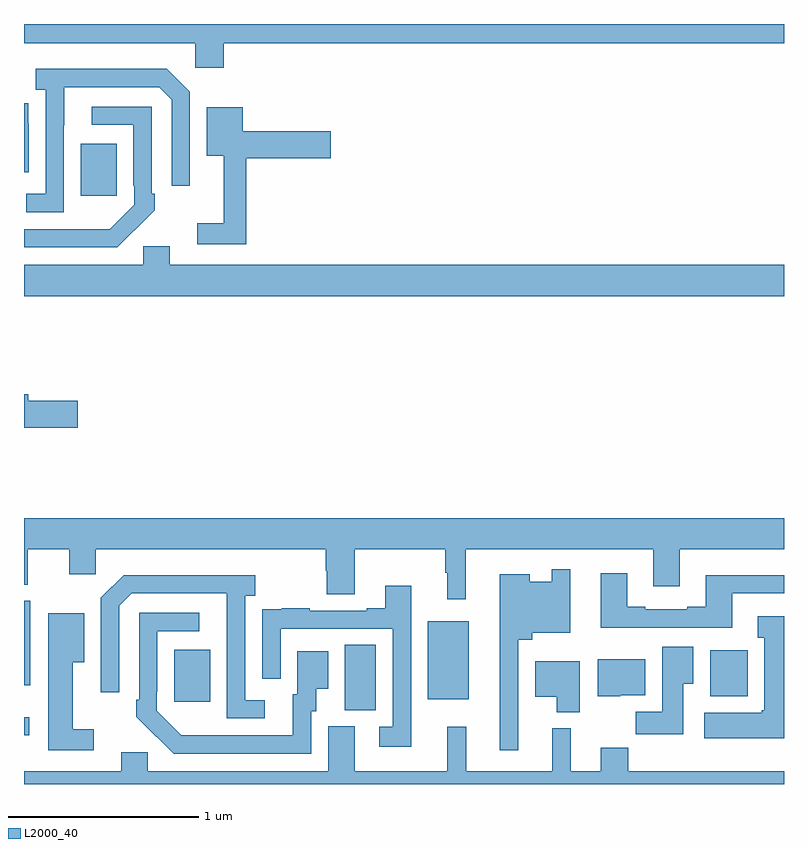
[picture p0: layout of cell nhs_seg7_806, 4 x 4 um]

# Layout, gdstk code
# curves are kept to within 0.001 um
import gdstk
lib = gdstk.Library(unit=1e-6, precision=1e-09)
def R(c, l, rs):  # rectangles x0, y0, x1, y1
    for r in rs: c.add(gdstk.rectangle(r[:2], r[2:], *l))
def P(c, l, *ps):  # polygons
    for p in ps: c.add(gdstk.Polygon(p, *l))
L2000_40 = (2000, 40)

nhs_seg7_806 = lib.new_cell('nhs_seg7_806')
R(nhs_seg7_806, L2000_40, [(171,1046.256,171.028,1046.352), (172.688,1046.389,172.852,1046.732), (171.791,1046.433,171.979,1046.707), (173.126,1046.447,173.341,1046.857), (174.611,1046.462,174.808,1046.704), (171,1046.52,171.034,1046.964), (171.299,1049.097,171.487,1049.371)])
P(nhs_seg7_806, L2000_40, [(171,1049.9),(171.9,1049.9),(171.9,1049.769),(172.052,1049.769),(172.052,1049.9),(175,1049.9),(175,1050),(171,1050)],
  [(171.21,1049.467),(171.211,1049.667),(171.711,1049.667),(171.777,1049.601),(171.777,1049.148),(171.873,1049.148),(171.873,1049.643),(171.752,1049.764),(171.063,1049.764),(171.063,1049.654),(171.114,1049.654),(171.114,1049.106),(171.012,1049.106),(171.012,1049.01),(171.21,1049.01)],
  [(171.024,1049.474),(171.023,1049.474),(171.023,1049.583),(171,1049.583),(171,1049.22),(171.024,1049.22)],
  [(171.581,1048.915),(171.582,1048.914),(171.687,1049.019),(171.687,1049.107),(171.672,1049.107),(171.672,1049.565),(171.357,1049.565),(171.357,1049.469),(171.576,1049.469),(171.576,1049.149),(171.579,1049.149),(171.579,1049.049),(171.451,1048.921),(171,1048.92),(171,1048.824),(171.49,1048.824)],
  [(172.169,1049.294),(172.615,1049.294),(172.615,1049.436),(172.15,1049.436),(172.15,1049.563),(171.962,1049.563),(171.962,1049.306),(172.052,1049.306),(172.052,1048.951),(171.912,1048.951),(171.912,1048.842),(172.169,1048.842)],
  [(175,1048.732),(171.766,1048.732),(171.766,1048.83),(171.627,1048.83),(171.627,1048.732),(171,1048.732),(171,1048.568),(175,1048.568)],
  [(171.283,1048.016),(171.022,1048.016),(171.022,1048.052),(171,1048.052),(171,1047.874),(171.283,1047.874)],
  [(173.326,1047.236),(174.311,1047.236),(174.311,1047.042),(174.451,1047.042),(174.451,1047.236),(175,1047.236),(175,1047.4),(171,1047.4),(171,1047.049),(171.019,1047.049),(171.019,1047.236),(171.239,1047.236),(171.239,1047.105),(171.378,1047.105),(171.378,1047.236),(172.589,1047.236),(172.589,1047.123),(172.594,1047.123),(172.594,1046.998),(172.741,1046.998),(172.741,1047.236),(173.217,1047.236),(173.217,1047.113),(173.228,1047.113),(173.228,1046.973),(173.326,1046.973)],
  [(173.601,1046.759),(173.675,1046.759),(173.675,1046.795),(173.874,1046.795),(173.874,1047.13),(173.778,1047.13),(173.778,1047.064),(173.662,1047.064),(173.662,1047.103),(173.504,1047.103),(173.504,1046.178),(173.601,1046.178)],
  [(174.263,1046.823),(174.727,1046.823),(174.727,1047.003),(175,1047.003),(175,1047.1),(174.587,1047.1),(174.587,1046.932),(174.491,1046.932),(174.491,1046.919),(174.271,1046.919),(174.271,1046.932),(174.175,1046.932),(174.175,1047.109),(174.035,1047.109),(174.035,1046.822),(174.263,1046.822)],
  [(172.267,1046.442),(172.164,1046.442),(172.164,1046.99),(172.216,1046.99),(172.216,1047.1),(171.526,1047.1),(171.405,1046.979),(171.405,1046.484),(171.501,1046.484),(171.501,1046.937),(171.567,1047.003),(172.067,1047.003),(172.068,1046.346),(172.267,1046.346)],
  [(173.037,1047.043),(172.901,1047.043),(172.901,1046.926),(172.805,1046.926),(172.805,1046.913),(172.505,1046.913),(172.505,1046.926),(172.357,1046.926),(172.357,1046.919),(172.255,1046.919),(172.255,1046.81),(172.254,1046.81),(172.254,1046.555),(172.35,1046.555),(172.35,1046.817),(172.941,1046.817),(172.941,1046.301),(172.869,1046.301),(172.869,1046.196),(173.037,1046.196)],
  [(172.512,1046.382),(172.537,1046.382),(172.537,1046.501),(172.6,1046.501),(172.6,1046.698),(172.439,1046.698),(172.439,1046.472),(172.415,1046.472),(172.415,1046.256),(171.828,1046.257),(171.699,1046.385),(171.699,1046.485),(171.702,1046.485),(171.702,1046.805),(171.922,1046.805),(171.922,1046.901),(171.606,1046.901),(171.606,1046.443),(171.591,1046.443),(171.591,1046.355),(171.788,1046.16),(172.512,1046.16)],
  [(171.367,1046.287),(171.256,1046.287),(171.256,1046.642),(171.316,1046.642),(171.316,1046.899),(171.128,1046.899),(171.128,1046.178),(171.367,1046.178)],
  [(175,1046.884),(174.863,1046.884),(174.863,1046.771),(174.896,1046.771),(174.896,1046.388),(174.883,1046.388),(174.883,1046.374),(174.579,1046.374),(174.579,1046.24),(175,1046.24)],
  [(174.469,1046.528),(174.523,1046.528),(174.523,1046.722),(174.359,1046.722),(174.359,1046.38),(174.22,1046.38),(174.22,1046.262),(174.469,1046.262)],
  [(174.138,1046.468),(174.271,1046.468),(174.271,1046.656),(174.02,1046.656),(174.02,1046.462),(174.138,1046.462)],
  [(173.926,1046.647),(173.69,1046.647),(173.69,1046.459),(173.804,1046.459),(173.804,1046.378),(173.926,1046.378)],
  [(175,1046.068),(174.179,1046.068),(174.179,1046.192),(174.035,1046.192),(174.035,1046.068),(173.878,1046.068),(173.878,1046.293),(173.78,1046.293),(173.78,1046.068),(173.327,1046.068),(173.327,1046.302),(173.228,1046.302),(173.228,1046.068),(172.741,1046.068),(172.741,1046.304),(172.601,1046.304),(172.601,1046.068),(171.651,1046.068),(171.651,1046.166),(171.512,1046.166),(171.512,1046.068),(171,1046.068),(171,1046),(175,1046)])

lib.write_gds('nhs_seg7_806.gds')
